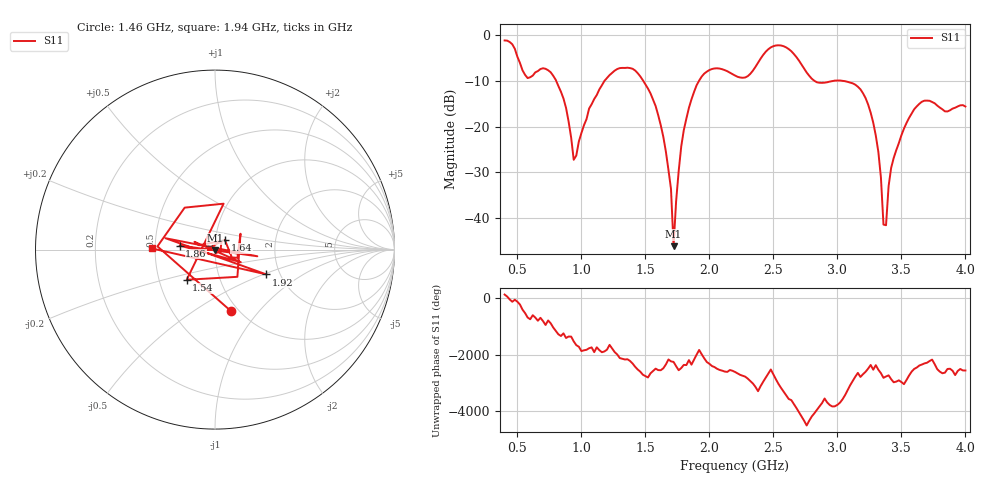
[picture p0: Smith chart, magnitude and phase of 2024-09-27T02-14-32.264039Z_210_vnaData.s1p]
!Created with skrf (http://scikit-rf.org).
# Hz S RI R 50.0
!freq ReS11 ImS11
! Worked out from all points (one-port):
!   181 points, 400 MHz to 4 GHz, reference 50 ohm
!   lowest |S11| = -46.1 dB at 1.72 GHz (marker M1), VSWR 1.01, Z = 50 - j0.494 ohm
!   |S11| at or under -10 dB: 802.8 MHz to 1.18 GHz (377.7 MHz wide, 38.1 % of centre); 1.483 GHz to 1.919 GHz (436.1 MHz wide, 25.6 % of centre); 3.038 GHz to end of sweep (the widest 3 of 4)
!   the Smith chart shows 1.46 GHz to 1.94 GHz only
!   S11 on the Smith chart (normalised r, x): 1.46 GHz: 0.92, -0.72; 1.54 GHz: 0.69, -0.25; 1.64 GHz: 1.11, +0.12; 1.86 GHz: 0.67, +0.03; 1.92 GHz: 1.70, -0.52; 1.94 GHz: 0.48, +0.01
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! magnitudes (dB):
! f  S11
! 400 MHz  -1.2
! 580 MHz  -9.4
! 740 MHz  -7.7
! 860 MHz  -13.9
! 940 MHz  -27.2
! 1.06 GHz  -16.1
! 1.3 GHz  -7.2
! 1.46 GHz  -9.0
! 1.54 GHz  -12.8
! 1.64 GHz  -22.2
! 1.7 GHz  -33.6
! 1.72 GHz  -46.1
! 1.76 GHz  -29.7
! 1.86 GHz  -14.1
! 1.92 GHz  -9.9
! 1.94 GHz  -9.1
! 2.2 GHz  -8.8
! 2.5 GHz  -2.4
! 2.66 GHz  -4.1
! 2.84 GHz  -10.3
! 3.1 GHz  -10.4
! 3.28 GHz  -19.1
! 3.32 GHz  -25.5
! 3.36 GHz  -41.4
! 3.38 GHz  -41.5
! 3.42 GHz  -29.0
! 3.56 GHz  -18.1
! 4 GHz  -15.6
